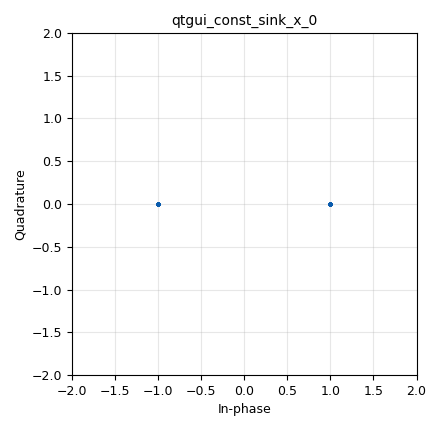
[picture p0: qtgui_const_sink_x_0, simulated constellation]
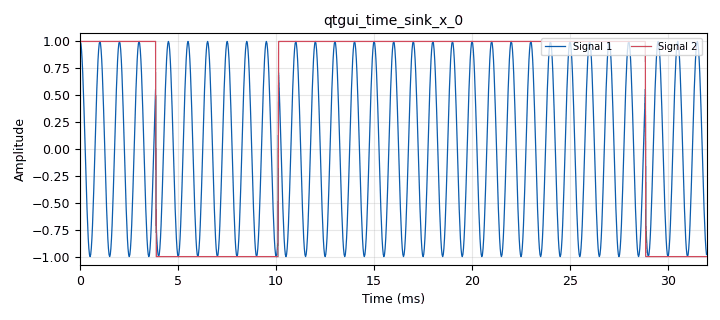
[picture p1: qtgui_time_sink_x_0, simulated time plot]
options:
  parameters:
    generate_options: qt_gui
    id: PSK_TEST
    output_language: python
    title: PSK_TEST
  states: {}

blocks:
- name: BPSK
  id: variable_constellation
  parameters:
    precision: '8'
    type: bpsk
  states: {}
- name: bpsk
  id: variable
  parameters:
    value: '[-1+0j,1+0j]'
  states: {}
- name: btis_per_chunk
  id: variable_qtgui_chooser
  parameters:
    label0: btis_per_chunk_bpsk
    label1: btis_per_chunk_qpsk
    num_opts: '2'
    option0: btis_per_chunk_bpsk
    option1: btis_per_chunk_qpsk
    type: raw
    value: btis_per_chunk_bpsk
    widget: radio_buttons
  states: {}
- name: btis_per_chunk_QAM
  id: variable
  parameters:
    value: '4'
  states: {}
- name: btis_per_chunk_bpsk
  id: variable
  parameters:
    value: '1'
  states: {}
- name: btis_per_chunk_qpsk
  id: variable
  parameters:
    value: '2'
  states: {}
- name: constellation
  id: variable_qtgui_chooser
  parameters:
    label0: bpsk
    label1: qpsk
    num_opts: '2'
    option0: bpsk
    option1: qpsk
    type: raw
    value: bpsk
  states: {}
- name: delay
  id: variable_qtgui_range
  parameters:
    start: '0'
    step: '1'
    stop: '100'
    value: '0'
  states: {}
- name: qpsk
  id: variable
  parameters:
    value: '[ -1-1j,-1+1j,+1-1j,1+1j ]'
  states: {}
- name: samp_rate
  id: variable
  parameters:
    value: '32000'
  states: {}
- name: soft
  id: variable_qtgui_range
  parameters:
    start: '2'
    step: '2'
    stop: '10'
    value: '2'
  states: {}
- name: analog_random_source_x_0_0_0_0_0
  id: analog_random_source_x
  parameters:
    max: '255'
    min: '0'
    num_samps: '1000'
    repeat: 'True'
    type: byte
  states: {}
- name: analog_sig_source_x_0
  id: analog_sig_source_x
  parameters:
    amp: '1'
    freq: '1000'
    offset: '0'
    phase: '0'
    samp_rate: samp_rate
    type: float
    waveform: analog.GR_COS_WAVE
  states: {}
- name: blocks_complex_to_float_0_0
  id: blocks_complex_to_float
  parameters: {}
  states: {}
- name: blocks_file_source_0
  id: blocks_file_source
  parameters:
    file: /home/leonid/Рабочий стол/BPSK_INFA_CODE.grc
    repeat: 'True'
    type: complex
  states: {state: disabled}
- name: blocks_float_to_complex_0
  id: blocks_float_to_complex
  parameters: {}
  states: {state: disabled}
- name: blocks_multiply_xx_0
  id: blocks_multiply_xx
  parameters:
    type: float
  states: {}
- name: blocks_packed_to_unpacked_xx_0
  id: blocks_packed_to_unpacked_xx
  parameters:
    bits_per_chunk: btis_per_chunk
    endianness: gr.GR_MSB_FIRST
    type: byte
  states: {}
- name: blocks_repeat_0
  id: blocks_repeat
  parameters:
    interp: '100'
    type: complex
  states: {}
- name: digital_chunks_to_symbols_xx_0
  id: digital_chunks_to_symbols_xx
  parameters:
    dimension: '1'
    in_type: byte
    out_type: complex
    symbol_table: constellation
  states: {}
- name: qtgui_const_sink_x_0
  id: qtgui_const_sink_x
  parameters:
    size: '1024'
    type: complex
  states: {}
- name: qtgui_time_sink_x_0
  id: qtgui_time_sink_x
  parameters:
    nconnections: '2'
    size: '1024'
    srate: samp_rate
    type: float
  states: {}

connections:
- [analog_random_source_x_0_0_0_0_0, '0', blocks_packed_to_unpacked_xx_0, '0']
- [analog_sig_source_x_0, '0', blocks_multiply_xx_0, '1']
- [blocks_complex_to_float_0_0, '0', blocks_multiply_xx_0, '0']
- [blocks_complex_to_float_0_0, '0', qtgui_time_sink_x_0, '1']
- [blocks_multiply_xx_0, '0', blocks_float_to_complex_0, '0']
- [blocks_multiply_xx_0, '0', qtgui_time_sink_x_0, '0']
- [blocks_packed_to_unpacked_xx_0, '0', digital_chunks_to_symbols_xx_0, '0']
- [blocks_repeat_0, '0', blocks_complex_to_float_0_0, '0']
- [digital_chunks_to_symbols_xx_0, '0', blocks_repeat_0, '0']
- [digital_chunks_to_symbols_xx_0, '0', qtgui_const_sink_x_0, '0']

metadata:
  file_format: 1
  grc_version: 3.10.10.0
